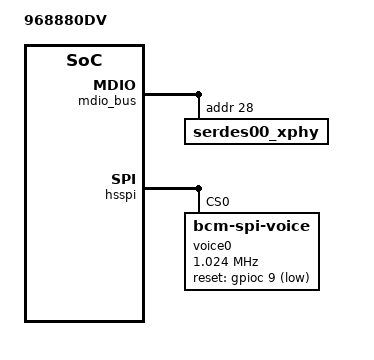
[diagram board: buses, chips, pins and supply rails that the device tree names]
#include "inc/968880DV.dtsi"
#include "inc/968880DV_SFP.dtsi"
#include "../bcm_voice.dtsi"

/ {
        memory_controller {
                memcfg = <(BP1_DDR_MCBSEL_FORMAT_VER1   | \
                           BP1_DDR_TYPE_LPDDR4         | \
                           BP1_DDR_SPEED_2133_36_39_39 | \
                           BP1_DDR_WIDTH_32BIT         | \
                           BP1_DDR_TOTAL_SIZE_8Gb      | \
                           BP1_DDR_SSC_CONFIG_1        | \
                           BP1_DDR_CONFIG_DEBUG)>;
        };
};

/ {
    model = "968880DV";
};

&ethphytop {
    xphy0-enabled;
    xphy1-enabled;
};

&mdio_bus {
    egphy0 {
        status = "okay";
    };
    egphy1 {
        status = "okay";
    };
    egphy2 {
        status = "okay";
    };
    egphy3 {
        status = "okay";
    };
    xphy0 {
        status = "okay";
    };
    xphy1 {
        status = "okay";
    };
    serdes00_xphy {
        reg = <0x1c>;
        enet-phy-lane-swap;
        USXGMII-S;
        status = "okay";
    };
    serdes00 {
        phy-handle = <&serdes00_xphy>;
        status = "okay";
    };
    serdes10_xphy {
        enet-phy-lane-swap;
        caps-no-10000;
        caps-no-5000;
        USXGMII-S;
        status = "okay";
    };
    serdes12_xphy {
        enet-phy-lane-swap;
        caps-no-10000;
        caps-no-5000;
        USXGMII-S;
        status = "okay";
    };
    serdes13_xphy {
        enet-phy-lane-swap;
        caps-no-10000;
        caps-no-5000;
        USXGMII-S;
        status = "okay";
    };
    serdes10 {
        phy-handle = <&serdes10_xphy>;
        status = "okay";
    };
    serdes12 {
        phy-handle = <&serdes12_xphy>;
        status = "okay";
    };
    serdes13 {
        phy-handle = <&serdes13_xphy>;
        status = "okay";
    };
};
&led_ctrl {
    pinctrl-names = "default";
    pinctrl-0 = <&a_ser_led_data_pin_0 &a_ser_led_clk_pin_1 &a_ser_led_mask_pin_2>;
    serial-shifters-installed = <3>;

    led0: serial-port_gphy0-led_1 {
        active_low;
        crossbar-output = <2>;
        activity = <(LED_SPEED_GBE)>;
        status = "okay";
    };

    led1: serial-port_gphy0-led_0 {
        active_low;
        crossbar-output = <3>;
        link = <(LED_SPEED_GBE)>;
        status = "okay";
    };

    led2: serial-port_gphy1-led_1 {
        active_low;
        crossbar-output = <1>;
        activity = <(LED_SPEED_GBE)>;
        status = "okay";
    };

    led3: serial-port_gphy1-led_0 {
        active_low;
        crossbar-output = <7>;
        link = <(LED_SPEED_GBE)>;
        status = "okay";
    };

    led4: serial-port_gphy2-led_1 {
        active_low;
        crossbar-output = <14>;
        activity = <(LED_SPEED_GBE)>;
        status = "okay";
    };

    led5: serial-port_gphy2-led_0 {
        active_low;
        crossbar-output = <0>;
        link = <(LED_SPEED_GBE)>;
        status = "okay";
    };

    led6: serial-port_gphy3-led_1 {
        active_low;
        crossbar-output = <12>;
        activity = <(LED_SPEED_GBE)>;
        status = "okay";
    };

    led7: serial-port_gphy3-led_0 {
        active_low;
        crossbar-output = <13>;
        link = <(LED_SPEED_GBE)>;
        status = "okay";
    };

    led8: serial-port_xgphy0-led_1 {
        active_low;
        crossbar-output = <11>;
        activity = <(LED_SPEED_100|LED_SPEED_1G|LED_SPEED_2500|LED_SPEED_10G)>;
        status = "okay";
    };

    led9: serial-port_xgphy0-led_0 {
        active_low;
        crossbar-output = <15>;
        link = <(LED_SPEED_100|LED_SPEED_1G|LED_SPEED_2500|LED_SPEED_10G)>;
        status = "okay";
    };

    led10: serial-port_xgphy1-led_1 {
        active_low;
        crossbar-output = <9>;
        activity = <(LED_SPEED_100|LED_SPEED_1G|LED_SPEED_2500|LED_SPEED_10G)>;
        status = "okay";
    };

    led11: serial-port_xgphy1-led_0 {
        active_low;
        crossbar-output = <10>;
        link = <(LED_SPEED_100|LED_SPEED_1G|LED_SPEED_2500|LED_SPEED_10G)>;
        status = "okay";
    };


    led14: sw_serial_led_31 {
        active_low;
        label = "WAN";
        crossbar-output = <4>;
        status = "okay";
    };

    led15: sw_serial_led_30 {
        active_low;
        label = "ALARM";
        crossbar-output = <5>;
        status = "okay";
    };

    led16: sw_serial_led_29 {
        active_low;
        label = "PON";
        crossbar-output = <6>;
        status = "okay";
    };

    led17: sw_serial_led_27 {
        active_low;
        crossbar-output = <16>;
        status = "okay";
    };

    led18: sw_serial_led_26 {
        active_low;
        crossbar-output = <17>;
        status = "okay";
    };

    led19: sw_serial_led_24 {
        active_low;
        crossbar-output = <18>;
        label = "WPS";
        status = "okay";
    };

    led20: sw_serial_led_23 {
        active_low;
        crossbar-output = <19>;
        label = "VOIP2";
        status = "okay";
    };

    led21: sw_serial_led_22 {
        active_low;
        crossbar-output = <20>;
        label = "VOIP1";
        status = "okay";
    };

    led22: sw_serial_led_21 {
        active_low;
        crossbar-output = <21>;
        label = "USB0";
        trigger-sources = <&usb_port1>;
        linux,default-trigger = "usbport";
        status = "okay";
    };

    led23: sw_serial_led_20 {
        active_low;
        crossbar-output = <22>;
        label = "USB1";
        trigger-sources = <&usb_port2>;
        linux,default-trigger = "usbport";
        status = "okay";
    };
};

&switch0 {
    ports {
        port_gphy0 {
            network-leds = <&led0 &led1>;
            status = "okay";
        };
        port_gphy1 {
            network-leds = <&led2 &led3>;
            status = "okay";
        };
        port_gphy2 {
            network-leds = <&led4 &led5>;
            status = "okay";
        };
        port_gphy3 {
            network-leds = <&led6 &led7>;
            status = "okay";
        };
        port_xgphy0 {
            network-leds = <&led8 &led9>;
            status = "okay";
        };
        port_xgphy1 {
            network-leds = <&led10 &led11>;
            status = "okay";
        };
        port_slan0 {
            status = "okay";
        };
        port_qlan0 {
            status = "okay";
        };
        port_qlan2 {
            status = "okay";
        };
        port_qlan3 {
            status = "okay";
        };
        port_wan@fiber {
            status = "okay";
        };
        port_wan@ae {
            status = "okay";
        };
    };
};

&bcm_voice {
        sliclist = SLICSLAC_LIST_COMMON_NOFXO;
};

&hsspi {
        status = "okay";
        voice0 {
                pinctrl-0 = <&a_spim1_ss0_b_pin_25>;
                pinctrl-names = "default";
                compatible = "bcm-spi-voice";
                reg = <0>;
                spi-max-frequency = <1024000>;
                reset-gpio = <&gpioc 9 GPIO_ACTIVE_LOW>;
                spi-index = <0>;
        };
};


